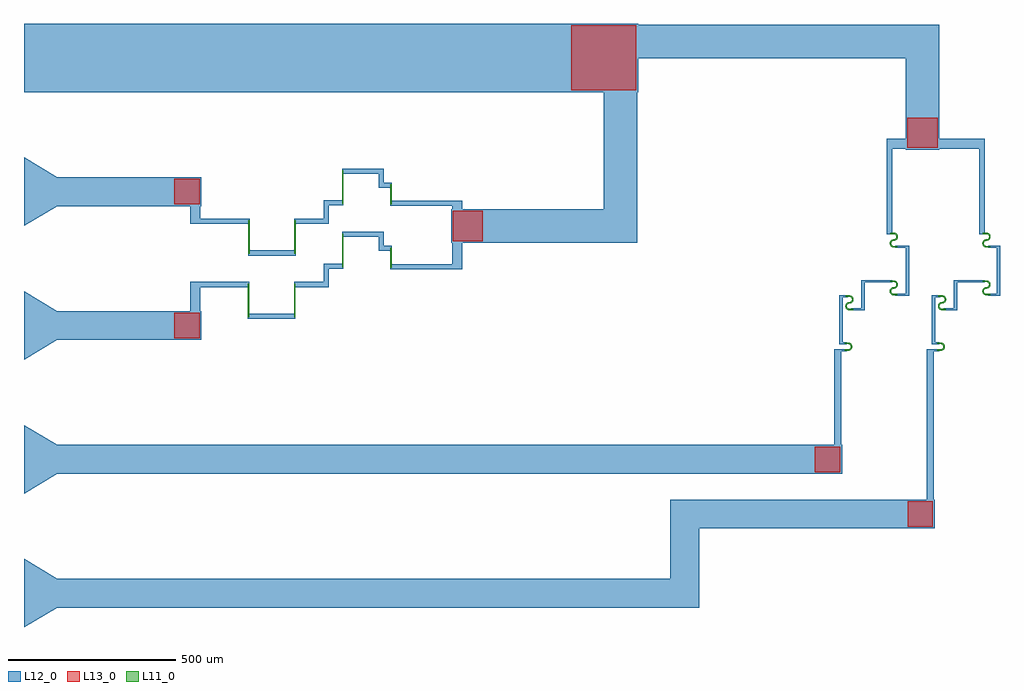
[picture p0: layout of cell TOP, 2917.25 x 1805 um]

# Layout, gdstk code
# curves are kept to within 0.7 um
from math import pi, radians
import gdstk
lib = gdstk.Library(unit=1e-6, precision=1e-09)
def R(c, l, rs):  # rectangles x0, y0, x1, y1
    for r in rs: c.add(gdstk.rectangle(r[:2], r[2:], *l))
def P(c, l, *ps):  # polygons
    for p in ps: c.add(gdstk.Polygon(p, *l))
L11_0 = (11, 0)
L12_0 = (12, 0)
L13_0 = (13, 0)

circuito_eletrico = lib.new_cell('circuito-eletrico')
R(circuito_eletrico, L11_0, [(-789.218,25.028,-785.218,125.028), (-651.383,25.028,-647.383,125.028), (-363.56,173.078,-359.56,233.078), (-508.072,174.578,-504.072,274.578), (-788.109,214.215,-784.109,314.215), (-650.591,214.215,-646.591,314.215), (-363.56,362.265,-359.56,422.265), (-507.914,363.765,-503.914,463.765)])
R(circuito_eletrico, L12_0, [(-1358.626,-843,559.424,-757), (473.424,-757,559.424,-520.56), (559.424,-606.56,1263.337,-520.56), (1240.337,-520.56,1260.337,-76.291), (-1358.626,-443,986.484,-357), (963.484,-357,983.484,-76.291), (963.484,-76.291,999.89,-70.291), (1240.337,-76.291,1276.743,-70.291), (978.484,-56.291,999.89,-50.291), (1255.337,-56.291,1276.743,-50.291), (978.484,-50.291,988.484,84.935), (1255.337,-50.291,1265.337,84.935), (-1358.626,-43,-928.236,43), (-789.218,20.028,-785.218,35.028), (-785.218,20.028,-651.383,35.028), (-651.383,20.028,-647.383,35.028), (-961.236,43,-931.236,130.028), (1013.484,44.935,1053.894,50.935), (1290.417,44.935,1330.854,50.935), (1043.894,50.935,1053.894,129.28), (1320.854,50.935,1330.854,129.28), (978.484,84.935,1003.484,90.935), (1255.337,84.935,1280.417,90.935), (1146.068,89.28,1186.694,95.28), (1423.001,89.28,1458.626,95.28), (1176.694,95.28,1186.694,232.377), (1448.626,95.28,1458.626,232.377), (-931.236,115.028,-789.218,130.028), (-789.218,115.028,-785.218,130.028), (-651.383,115.028,-647.383,130.028), (-651.383,115.028,-647.383,130.028), (-647.383,115.028,-547.786,130.028), (1043.894,129.28,1136.068,135.28), (1320.854,129.28,1413.001,135.28), (-562.786,130.028,-547.786,184.578), (-363.56,168.078,-359.56,183.078), (-359.56,168.078,-178.836,183.078), (-178.836,168.078,-148.836,247.5), (-547.786,169.578,-508.072,184.578), (-508.072,169.578,-504.072,184.578), (-788.109,209.215,-784.109,224.215), (-784.109,209.215,-650.591,224.215), (-650.591,209.215,-646.591,224.215), (-398.896,223.078,-383.896,264.578), (-383.896,223.078,-363.56,238.078), (-363.56,223.078,-359.56,238.078), (1146.227,232.377,1186.694,238.377), (1423.159,232.377,1458.626,238.377), (-181.836,247.5,274.094,347.5), (274.094,247.5,374.094,697.5), (-508.072,264.578,-504.072,279.578), (-504.072,264.578,-383.896,279.578), (1120.227,272.377,1136.227,277.377), (1397.159,272.377,1413.159,277.377), (1120.227,277.377,1136.227,528.94), (1397.159,277.377,1413.159,528.94), (-961.236,304.215,-931.236,357), (-931.236,304.215,-788.109,319.215), (-788.109,304.215,-784.109,319.215), (-650.591,304.215,-646.591,319.215), (-646.591,304.215,-547.786,319.215), (-562.786,319.215,-547.786,373.765), (-178.836,347.5,-148.836,372.265), (-1358.626,357,-928.236,443), (-363.56,357.265,-359.56,372.265), (-359.56,357.265,-178.836,372.265), (-547.786,358.765,-507.914,373.765), (-507.914,358.765,-503.914,373.765), (-398.896,412.265,-383.896,453.765), (-383.896,412.265,-363.56,427.265), (-363.56,412.265,-359.56,427.265), (-507.914,453.765,-503.914,468.765), (-503.914,453.765,-383.896,468.765), (1177.094,525.94,1277.094,799.5), (1120.227,528.94,1177.094,558.94), (1277.094,528.94,1413.159,558.94), (-1458.626,697.5,377.094,902.5), (377.094,799.5,1277.094,899.5)])
P(circuito_eletrico, L12_0, [(-1458.626,297.5),(-1458.626,502.5),(-1358.626,443),(-1358.626,357)],
  [(-1458.626,-102.5),(-1458.626,102.5),(-1358.626,43),(-1358.626,-43)],
  [(-1458.626,-502.5),(-1458.626,-297.5),(-1358.626,-357),(-1358.626,-443)],
  [(-1458.626,-902.5),(-1458.626,-697.5),(-1358.626,-757),(-1358.626,-843)])
R(circuito_eletrico, L13_0, [(1182.337,-601.56,1258.337,-525.56), (905.484,-438,981.484,-362), (-1009.236,-38,-933.236,38), (-176.836,252.5,-86.836,342.5), (-1009.236,362,-933.236,438), (1182.094,530.94,1272.094,620.94), (177.094,702.5,372.094,897.5)])

arc_1 = lib.new_cell('ARC$1')
P(arc_1, L11_0, [(-12,0),(-11.312,4.048),(-8.902,8.068),(-5.137,10.861),(-0.59,12),(4.048,11.312),(8.068,8.902),(10.861,5.137),(12,0.59),(12,0),(8,0),(7.241,3.425),(5.379,5.935),(2.698,7.541),(-0.393,8),(-3.425,7.241),(-5.935,5.379),(-7.541,2.698),(-8,0)])

conexoes_circulares_2 = lib.new_cell('conexoes-circulares-2')
R(conexoes_circulares_2, L11_0, [(-12,-11.5,-8,-0.5), (8,-11.5,12,-0.5)])
conexoes_circulares_2.add(gdstk.Reference(arc_1, (0,-0.5)))

conexoes_circulares = lib.new_cell('conexoes-circulares')
R(conexoes_circulares, L11_0, [(0,-22,11,-18), (-11,18,0,22)])
conexoes_circulares.add(gdstk.Reference(arc_1, (0,10), rotation=3*pi/2))
conexoes_circulares.add(gdstk.Reference(arc_1, (0,-10), rotation=pi/2))

top = lib.new_cell('TOP')
top.add(gdstk.Reference(circuito_eletrico, (-2938.874,3450)))
top.add(gdstk.Reference(conexoes_circulares_2, (-1656.631,3386.709), rotation=3*pi/2))
top.add(gdstk.Reference(conexoes_circulares_2, (-1933.484,3386.709), rotation=3*pi/2))
top.add(gdstk.Reference(conexoes_circulares, (-1930.39,3517.935)))
top.add(gdstk.Reference(conexoes_circulares, (-1653.457,3517.935)))
top.add(gdstk.Reference(conexoes_circulares, (-1520.873,3562.28)))
top.add(gdstk.Reference(conexoes_circulares, (-1520.715,3705.377)))
top.add(gdstk.Reference(conexoes_circulares, (-1797.647,3705.377)))
top.add(gdstk.Reference(conexoes_circulares, (-1797.806,3562.28)))

lib.write_gds('TOP.gds')
